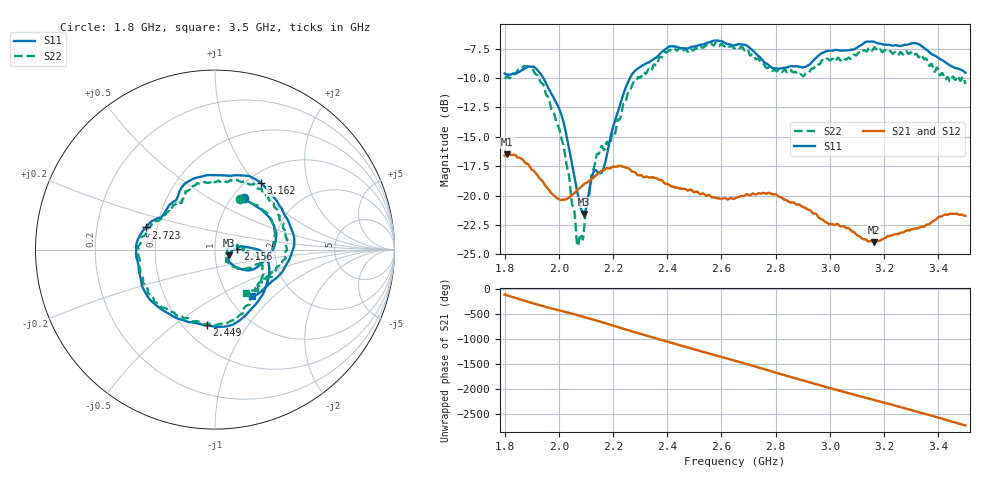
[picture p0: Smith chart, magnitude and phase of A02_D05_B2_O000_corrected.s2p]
! Created with skrf 1.9.0 (http://scikit-rf.org).
# Hz S RI R 50.0
!freq ReS11 ImS11 ReS21 ImS21 ReS12 ImS12 ReS22 ImS22
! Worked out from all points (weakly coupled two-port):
!   1601 points, 1.8 GHz to 3.5 GHz, reference 50 ohm
!   highest |S21| = -16.49 dB at 1.81 GHz (marker M1); lowest = -24.0 dB at 3.162 GHz (marker M2)
!   lowest |S11| = -21.6 dB at 2.091 GHz (marker M3), VSWR 1.18, Z = 58.2 - j3.73 ohm
!   |S11| at or under -10 dB: 1.943 GHz to 2.262 GHz (319 MHz wide, 15.2 % of centre)
!   |S22| runs from -24.3 to -7.0 dB; largest |S21 - S12| = 0.0029
!   S11 on the Smith chart (normalised r, x): 1.8 GHz: 1.13, +0.73; 2.156 GHz: 1.29, +0.01; 2.449 GHz: 0.64, -0.66; 2.723 GHz: 0.43, +0.13; 3.162 GHz: 1.15, +1.08; 3.5 GHz: 1.28, -0.75
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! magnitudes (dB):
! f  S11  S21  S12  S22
! 1.8 GHz  -9.6  -16.6  -16.6  -10.1
! 1.81 GHz  -9.7  -16.5  -16.5  -9.9
! 1.881 GHz  -9.1  -17.3  -17.3  -9.0
! 1.942 GHz  -10.0  -18.9  -18.9  -10.6
! 2.013 GHz  -13.4  -20.4  -20.4  -15.4
! 2.068 GHz  -19.6  -19.5  -19.5  -24.2
! 2.084 GHz  -21.3  -19.2  -19.2  -23.4
! 2.091 GHz  -21.6  -19.1  -19.1  -23.4
! 2.127 GHz  -18.0  -18.5  -18.5  -17.8
! 2.156 GHz  -18.1  -17.9  -17.9  -15.8
! 2.19 GHz  -15.1  -17.7  -17.7  -15.5
! 2.26 GHz  -10.1  -17.7  -17.8  -11.0
! 2.367 GHz  -8.1  -18.6  -18.6  -8.5
! 2.449 GHz  -7.4  -19.4  -19.4  -7.5
! 2.65 GHz  -7.2  -20.2  -20.2  -7.4
! 2.723 GHz  -7.8  -19.9  -19.8  -8.3
! 2.797 GHz  -9.2  -19.9  -19.9  -9.3
! 2.934 GHz  -8.6  -21.4  -21.4  -9.2
! 3.162 GHz  -6.9  -24.0  -23.9  -7.4
! 3.217 GHz  -7.2  -23.4  -23.4  -7.7
! 3.324 GHz  -7.1  -22.8  -22.8  -8.1
! 3.5 GHz  -9.5  -21.7  -21.7  -10.5
